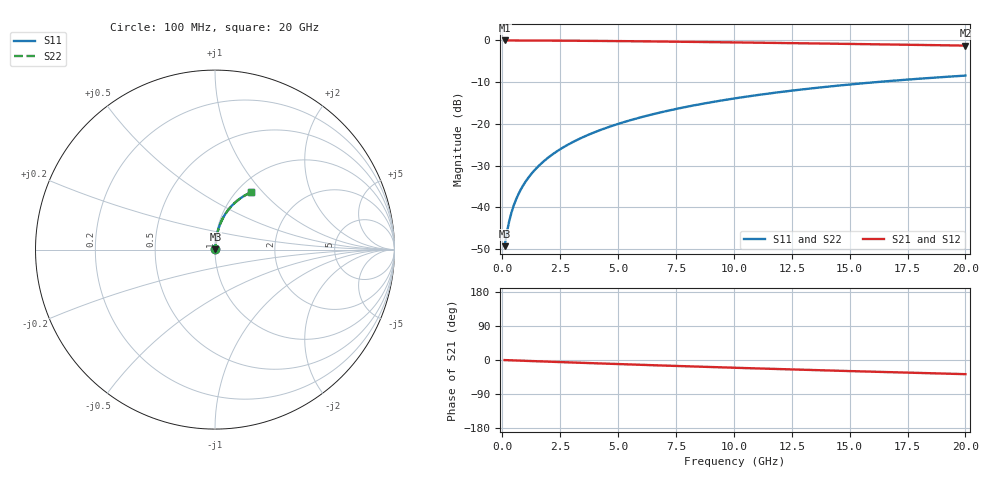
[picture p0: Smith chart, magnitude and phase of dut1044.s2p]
! Touchstone file exported from HFSS 2024.1.0
!  File:  C:/UserFiles/LocalFiles/RDL_TSV_Batchsim/temp_RDL_top_1044_1780044207.aedt
!  Generated:  04:46:00 PM May 29, 2026
!  Design:  RDL_top
!  Project:  temp_RDL_top_1044_1780044207
!  Setup:  Setup1
!  Solution:  Sweep
! Variables:
!  dtsv = 10.80580581um
!  hbump = 3um
!  htsv = 50.78um
!  ldown = 100um
!  lrdl = 522.14um
!  p = 40
!  p1 = 45.91um
!  rhole = 1um
!  t = 450um
!  tdown = 3.915915916um
!  trdl = 4.26um
!  wdown = 15.38538539um
!  wrdl = 16.82um
# GHz S MA R 50.000000
! Terminal data exported
! Port[1] = Box2_T1
! Port[2] = Box2_T2
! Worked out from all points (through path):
!   200 points, 100 MHz to 20 GHz, reference 50 ohm
!   highest |S21| = -0.02 dB at 100 MHz (marker M1); lowest = -1.3 dB at 20 GHz (marker M2)
!   group delay of S21, straight-line fit = 5.16 ps
!   lowest |S11| = -49.3 dB at 100 MHz (marker M3), VSWR 1.01, Z = 50.3 + j0.213 ohm
!   |S11| at or under -10 dB: start of sweep to 16.14 GHz
!   |S22| runs from -49.3 to -8.4 dB; largest |S21 - S12| = 3e-15
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0.1  0.003438 38.0  0.9973 -0.2  0.9973 -0.2  0.003438 38.0
! Gamma 0 0 0 0
! Port Impedance 50 0 50 0
0.2  0.005049 56.2  0.9972 -0.5  0.9972 -0.5  0.005049 56.2
0.3  0.006881 64.8  0.997 -0.7  0.997 -0.7  0.006881 64.8
0.4  0.008766 69.6  0.9969 -0.9  0.9969 -0.9  0.008766 69.6
0.5  0.01066 72.7  0.9967 -1.1  0.9967 -1.1  0.01066 72.7
0.6  0.01257 74.9  0.9966 -1.3  0.9966 -1.3  0.01257 74.9
0.8  0.01641 77.8  0.9963 -1.8  0.9963 -1.8  0.01641 77.7
1.1  0.02221 80.2  0.9958 -2.4  0.9958 -2.4  0.02221 80.2
1.5  0.03001 81.8  0.995 -3.3  0.995 -3.3  0.03001 81.8
1.8  0.0359 82.5  0.9943 -4.0  0.9943 -4.0  0.0359 82.5
2.1  0.04182 82.8  0.9934 -4.6  0.9934 -4.6  0.04182 82.8
2.7  0.05372 83.0  0.9914 -5.9  0.9914 -5.9  0.05372 83.0
3.5  0.06969 82.8  0.988 -7.6  0.988 -7.6  0.06969 82.8
4.2  0.08377 82.3  0.9845 -9.1  0.9845 -9.1  0.08377 82.3
5  0.09995 81.5  0.9801 -10.7  0.9801 -10.7  0.09994 81.5
5.9  0.1182 80.4  0.9746 -12.6  0.9746 -12.6  0.1182 80.4
6.8  0.1366 79.2  0.9688 -14.3  0.9688 -14.3  0.1366 79.2
8.4  0.1691 76.8  0.9576 -17.4  0.9576 -17.4  0.1691 76.8
10.1  0.2033 74.1  0.9451 -20.6  0.9451 -20.6  0.2032 74.1
13.4  0.267 68.6  0.9195 -26.5  0.9195 -26.5  0.2669 68.5
16.7  0.3258 63.0  0.8928 -32.1  0.8928 -32.1  0.3257 63.0
20  0.3786 57.7  0.8657 -37.3  0.8657 -37.3  0.3785 57.6
